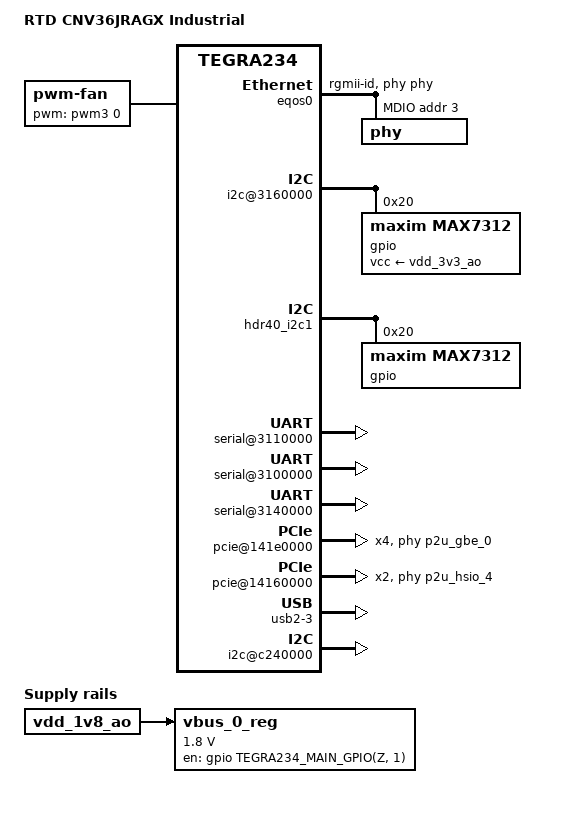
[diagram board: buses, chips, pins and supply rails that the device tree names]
// SPDX-License-Identifier: GPL-2.0-only
// SPDX-FileCopyrightText: Copyright (c) 2023, NVIDIA CORPORATION & AFFILIATES.  All rights reserved.

/dts-v1/;

#include "tegra234-p3737-0000+p3701-0000.dts"
#include "tegra234-p3737-0000+p3701-xxxx-nv-common.dtsi"
#include "tegra234-p3701-0008.dtsi"

/ {

	model = "RTD CNV36JRAGX Industrial";

	aliases {
		// UARTA connects to CN8
		// UARTB connects to E-KEY
		// UARTE connects to CN7
		serial3 = "/bus@0/serial@3110000"; 
		serial1 ="/bus@0/serial@3140000"; //CN7
		serial2 = "/bus@0/serial@3100000"; //CN8
	};

	bus@0 {
		eqos0: ethernet@2310000 {
			status = "okay";
			nvidia,mac-addr-idx = <0>;
			nvidia,max-platform-mtu = <8000>;
			/* 1=enable, 0=disable */
			nvidia,pause_frames = <0>;
			phy-handle = <&phy>;
			phy-mode = "rgmii-id";
			nvidia,phy-reset-gpio = <&gpio TEGRA234_MAIN_GPIO(G, 5) 0>;
	
			mdio {
				compatible = "nvidia,eqos-mdio";
				#address-cells = <1>;
				#size-cells = <0>;
	
				phy: phy@1 {
					reg = <0x3>;
					nvidia,phy-rst-pdelay-msec = <224>; /* msec */
					nvidia,phy-rst-duration-usec = <10000>; /* usec */
				};
			};
		};

		mgbe0: ethernet@6800000 {
			status = "disabled";
		};
        
		nvpps {
			status = "disabled";
			compatible = "nvidia,tegra234-nvpps";
			primary-emac = <&eqos0>;
			sec-emac = <&eqos0>;
			reg = <0x0 0xc6a0000 0x0 0x1000>;
		};

		i2c@3160000 {
			status = "okay";
			gpio@20 {
				compatible = "maxim,max7312";
				reg = <0x20>;
				gpio-controller;
				#gpio-cells = <2>;
				gpio-line-names =
						"sp0_en",
						"sp0_invdir",
						"sp0_term",
						"sp0_mode2",
						"sp0_mode1",
						"sp0_mode0",
						"sp0_slew",
						"rsvd",
						"sp1_en",
						"sp1_invdir",
						"sp1_term",
						"sp1_mode2",
						"sp1_mode1",
						"sp1_mode0",
						"sp1_slew",
						"can_silent";

				vcc-supply = <&vdd_3v3_ao>;
				status = "okay";
			};
		};

		i2c@31e0000{
			status = "disabled";
			rt5640: audio-codec@1c {
				status = "disabled";
			};
		};
               
		hdr40_i2c1: i2c@c250000 {
			status="okay";
                        gpio@20 {
                                compatible = "maxim,max7312";
                                reg = <0x20>;
                                gpio-controller;
                                #gpio-cells = <2>;
                                gpio-line-names =
                                "CN6-1",
                                "CN6-2",
                                "CN6-3",
                                "CN6-4",
                                "CN6-5",
                                "CN6-6",
                                "CN6-7",
                                "CN6-8",
                                "CN6-9",
                                "CN6-10",
                                "CN6-11",
                                "CN6-12",
                                "CN6-13",
                                "CN6-14",
                                "reserved",
                                "5v-enable";
                                status = "okay";
                        };
	       };


		serial@3110000 {
			compatible = "nvidia,tegra194-hsuart";
			reset-names = "serial";
			status = "okay";
		};

		serial@3100000 {
			compatible = "nvidia,tegra194-hsuart";
			reset-names = "serial";
			status = "okay";
		};

		serial@3140000 {
			compatible = "nvidia,tegra194-hsuart";
			reset-names = "serial";
			status = "okay";
		};

		pcie@141e0000 {
			status = "okay";
			num-lanes = <4>;
			vddio-pex-ctl-supply = <&vdd_1v8_ao>;

			phys = <&p2u_gbe_0>, <&p2u_gbe_1>, <&p2u_gbe_2>, <&p2u_gbe_3>;
			phy-names = "p2u-0", "p2u-1", "p2u-2", "p2u-3";
		};

		pcie@14160000 {
			status = "okay";
			num-lanes = <2>;
			vddio-pex-ctl-supply = <&vdd_1v8_ao>;

			phys = <&p2u_hsio_4>, <&p2u_hsio_5>;
	 		phy-names = "p2u-0", "p2u-1";
		};


		padctl@3520000 {
			pads {
				usb2 {
					lanes {
						usb2-0 {
							nvidia,function = "xusb";
						};
						usb2-1 {
							nvidia,function = "xusb";
						};
						usb2-2 {
							nvidia,function = "xusb";
						};
						usb2-3 {
							nvidia,function = "xusb";
							status = "okay";	
						};
					};
				};
				usb3 {
					lanes {
						usb3-0 {
							nvidia,function = "xusb";
						};
						usb3-1 {
							nvidia,function = "xusb";
						};
						usb3-2 {
							nvidia,function = "xusb";
						};
					};
				};
			};

            		ports {
				usb2-0 {
					mode = "host";
					vbus-supply = <&vbus_0_reg>;                    
					/delete-property/ usb-role-switch;
					/delete-node/ port;
				};
				usb2-1 {
					vbus-supply = <&vbus_0_reg>;
					/delete-node/ port;
				};
				usb2-2 {
					vbus-supply = <&vbus_0_reg>;
				};
				usb2-3 {
					vbus-supply = <&vbus_0_reg>;
				};
				usb3-0 {
					nvidia,usb2-companion = <1>;
					/delete-node/ port;
				};
				usb3-1 {
					nvidia,usb2-companion = <2>;
					/delete-node/ port;
				};
			};
		};

		i2c@c240000 {
			status = "okay";
			/delete-node/ typec@8;
		};        


	};

	vbus_0_reg: regulator@220 {
		compatible = "regulator-fixed";
		reg = <220>;
		regulator-name = "usb-vbus0-en";
		regulator-min-microvolt = <1800000>;
		regulator-max-microvolt = <1800000>;
		vin-supply = <&vdd_1v8_ao>;
		gpio = <&gpio TEGRA234_MAIN_GPIO(Z, 1) 0>;
		regulator-always-on;
		enable-active-high;
	};


        fan: pwm-fan {
                compatible = "pwm-fan";
                pwms = <&pwm3 0 80000>;
                #cooling-cells = <2>;
        };


};
